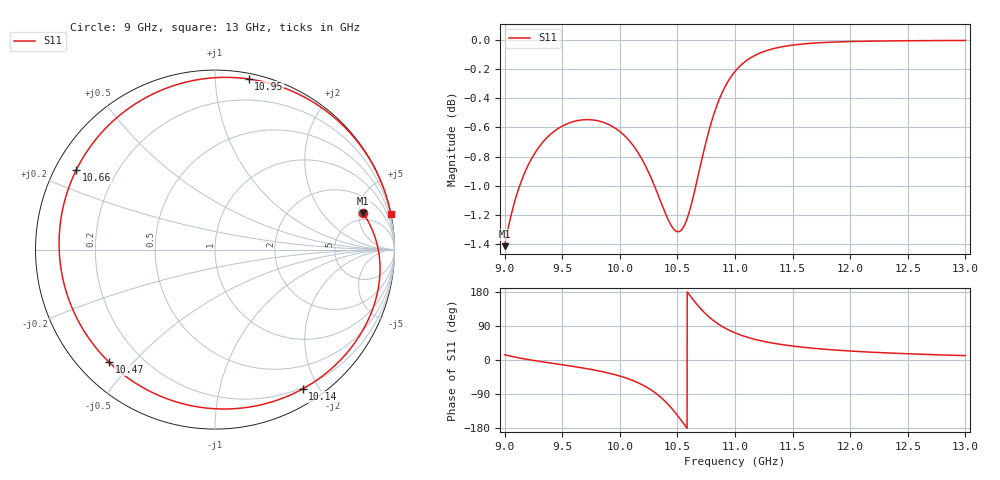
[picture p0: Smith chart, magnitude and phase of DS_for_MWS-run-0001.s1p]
! TOUCHSTONE file generated by CST DESIGN STUDIO
! Date and time: Tue Feb  4 14:40:34 2025
! Project name: C:\Work\MatlabApps\UnitCellOptimizationMatlab\CST\unitcell.cst
! Tree item: Tasks\Sweep1\SPara1\S-Parameters
! Header version: 2024
! Port assignment regex: !\s*Touchstone port\s*([0-9]+)\s*=\s*(CST MWS port|CST DES external port|CST DES block port)\s*(.+)\s* \(\"(.*)\"\)(\s*mode\s*([0-9]+))?.*
! Touchstone port assignment:
! Touchstone port 1 = CST DES external port 1 ("")
# GHz S MA R 50
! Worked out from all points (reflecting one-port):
!   4001 points, 9 GHz to 13 GHz, reference 50 ohm
!   lowest |S11| = -1.4 dB at 9 GHz (marker M1), VSWR 12.29, Z = 192 + j282 ohm
!   phase of S11 starts at 14 deg and turns -362 deg over the sweep
!   S11 on the Smith chart (normalised r, x): 9 GHz: 3.85, +5.64; 10.14 GHz: 0.18, -1.80; 10.47 GHz: 0.09, -0.43; 10.66 GHz: 0.06, +0.26; 10.95 GHz: 0.04, +1.22; 13 GHz: 0.01, +9.85
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9  0.8495 13.9
9.217  0.9079 0.5
9.5  0.9343 -12.6
9.786  0.9386 -26.9
10  0.9303 -42.4
10.142  0.9169 -57.8
10.242  0.9021 -73.3
10.337  0.8837 -93.7
10.405  0.8701 -112.7
10.466  0.8612 -133.3
10.5  0.8593 -146.1
10.541  0.8611 -162.4
10.58  0.8673 -178.3
10.619  0.8775 166.0
10.66  0.8911 150.3
10.722  0.9135 129.0
10.786  0.9346 110.7
10.858  0.9532 94.3
10.947  0.9691 78.8
11  0.9756 71.6
11.097  0.9839 61.0
11.209  0.9897 51.8
11.341  0.9936 43.9
11.5  0.9962 36.8
11.719  0.998 29.9
12  0.999 23.7
12.5  0.9997 16.4
13  0.9999 11.6
